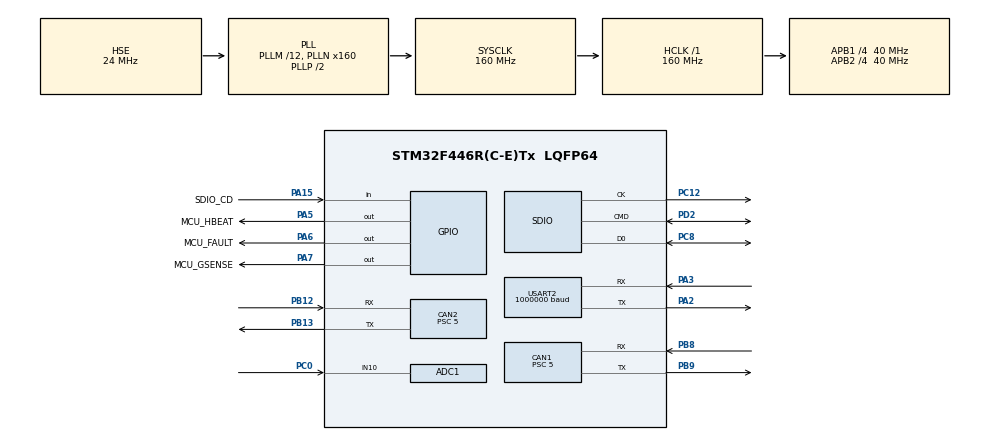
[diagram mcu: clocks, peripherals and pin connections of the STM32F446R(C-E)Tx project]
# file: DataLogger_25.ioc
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ADC1.Channel-2\#ChannelRegularConversion=ADC_CHANNEL_10
ADC1.ClockPrescaler=ADC_CLOCK_SYNC_PCLK_DIV4
ADC1.ContinuousConvMode=ENABLE
ADC1.DMAContinuousRequests=ENABLE
ADC1.NbrOfConversionFlag=1
ADC1.Rank-2\#ChannelRegularConversion=1
ADC1.SamplingTime-2\#ChannelRegularConversion=ADC_SAMPLETIME_3CYCLES
ADC1.master=1
CAN1.BS1=CAN_BS1_6TQ
CAN1.CalculateBaudRate=1000000
CAN1.CalculateTimeBit=1000
CAN1.CalculateTimeQuantum=125.0
CAN1.Mode=CAN_MODE_NORMAL
CAN1.Prescaler=5
CAN2.ABOM=ENABLE
CAN2.AWUM=ENABLE
CAN2.BS1=CAN_BS1_6TQ
CAN2.BS2=CAN_BS2_1TQ
CAN2.CalculateBaudRate=1000000
CAN2.CalculateTimeBit=1000
CAN2.CalculateTimeQuantum=125.0
CAN2.Prescaler=5
Dma.ADC1.2.Direction=DMA_PERIPH_TO_MEMORY
Dma.ADC1.2.FIFOMode=DMA_FIFOMODE_DISABLE
Dma.ADC1.2.Instance=DMA2_Stream0
Dma.ADC1.2.MemDataAlignment=DMA_MDATAALIGN_HALFWORD
Dma.ADC1.2.MemInc=DMA_MINC_ENABLE
Dma.ADC1.2.Mode=DMA_NORMAL
Dma.ADC1.2.PeriphDataAlignment=DMA_PDATAALIGN_HALFWORD
Dma.ADC1.2.PeriphInc=DMA_PINC_DISABLE
Dma.ADC1.2.Priority=DMA_PRIORITY_LOW
Dma.Request0=SDIO_RX
Dma.Request1=SDIO_TX
Dma.Request2=ADC1
Dma.SDIO_RX.0.Direction=DMA_PERIPH_TO_MEMORY
Dma.SDIO_RX.0.FIFOMode=DMA_FIFOMODE_ENABLE
Dma.SDIO_RX.0.FIFOThreshold=DMA_FIFO_THRESHOLD_FULL
Dma.SDIO_RX.0.Instance=DMA2_Stream3
Dma.SDIO_RX.0.MemBurst=DMA_MBURST_INC4
Dma.SDIO_RX.0.MemDataAlignment=DMA_MDATAALIGN_WORD
Dma.SDIO_RX.0.MemInc=DMA_MINC_ENABLE
Dma.SDIO_RX.0.Mode=DMA_PFCTRL
Dma.SDIO_RX.0.PeriphBurst=DMA_PBURST_INC4
Dma.SDIO_RX.0.PeriphDataAlignment=DMA_PDATAALIGN_WORD
Dma.SDIO_RX.0.PeriphInc=DMA_PINC_DISABLE
Dma.SDIO_RX.0.Priority=DMA_PRIORITY_HIGH
Dma.SDIO_TX.1.Direction=DMA_MEMORY_TO_PERIPH
Dma.SDIO_TX.1.FIFOMode=DMA_FIFOMODE_ENABLE
Dma.SDIO_TX.1.FIFOThreshold=DMA_FIFO_THRESHOLD_FULL
Dma.SDIO_TX.1.Instance=DMA2_Stream6
Dma.SDIO_TX.1.MemBurst=DMA_MBURST_INC4
Dma.SDIO_TX.1.MemDataAlignment=DMA_MDATAALIGN_WORD
Dma.SDIO_TX.1.MemInc=DMA_MINC_ENABLE
Dma.SDIO_TX.1.Mode=DMA_PFCTRL
Dma.SDIO_TX.1.PeriphBurst=DMA_PBURST_INC4
Dma.SDIO_TX.1.PeriphDataAlignment=DMA_PDATAALIGN_WORD
Dma.SDIO_TX.1.PeriphInc=DMA_PINC_DISABLE
Dma.SDIO_TX.1.Priority=DMA_PRIORITY_HIGH
FATFS.BSP.number=1
FATFS._MAX_SS=4096
FATFS._USE_LFN=2
FATFS0.BSP.STBoard=false
FATFS0.BSP.api=Unknown
FATFS0.BSP.instance=PA15
FATFS0.BSP.ip=GPIO
FATFS0.BSP.mode=Input
FATFS0.BSP.name=Detect_SDIO
FATFS0.BSP.solution=PA15
FREERTOS.INCLUDE_vTaskDelayUntil=1
FREERTOS.Tasks01=statusTask,-3,128,startStatusTask,Default,NULL,Static,statusTaskBuffer,statusTaskControlBlock;printTask,-2,1024,startPrintTask,Default,NULL,Static,printTaskBuffer,printTaskControlBlock;loggingTask,0,2048,startLoggingTask,Default,NULL,Static,loggingTaskBuffer,loggingTaskControlBlock;serviceGcanTask,2,1024,startServiceGcanTask,Default,NULL,Static,serviceGcanTaskBuffer,serviceGcanTaskControlBlock
Mcu.Family=STM32F4
Mcu.Name=STM32F446R(C-E)Tx
Mcu.Package=LQFP64
NVIC.CAN1_RX0_IRQn=true\:5\:0\:false\:false\:true\:true\:true\:true\:true
NVIC.CAN1_RX1_IRQn=true\:5\:0\:false\:false\:true\:true\:true\:true\:true
NVIC.CAN1_TX_IRQn=true\:5\:0\:false\:false\:true\:true\:true\:true\:true
NVIC.CAN2_RX0_IRQn=true\:5\:0\:false\:false\:true\:true\:true\:true\:true
NVIC.CAN2_RX1_IRQn=true\:5\:0\:false\:false\:true\:true\:true\:true\:true
NVIC.CAN2_TX_IRQn=true\:5\:0\:false\:false\:true\:true\:true\:true\:true
NVIC.DMA2_Stream0_IRQn=true\:5\:0\:false\:false\:true\:true\:false\:true\:true
NVIC.DMA2_Stream3_IRQn=true\:5\:0\:false\:false\:true\:true\:false\:true\:true
NVIC.DMA2_Stream6_IRQn=true\:5\:0\:false\:false\:true\:true\:false\:true\:true
NVIC.PriorityGroup=NVIC_PRIORITYGROUP_4
NVIC.RTC_Alarm_IRQn=true\:5\:0\:false\:false\:true\:true\:true\:true\:true
NVIC.SDIO_IRQn=true\:5\:0\:false\:false\:true\:true\:true\:true\:true
NVIC.TIM6_DAC_IRQn=true\:15\:0\:false\:false\:true\:false\:false\:true\:true
NVIC.TimeBase=TIM6_DAC_IRQn
NVIC.TimeBaseIP=TIM6
PA15.GPIO_Label=SDIO_CD
PA15.GPIO_PuPd=GPIO_PULLUP
PA15.Signal=GPIO_Input
PA2.Mode=Asynchronous
PA2.Signal=USART2_TX
PA3.Mode=Asynchronous
PA3.Signal=USART2_RX
PA5.GPIO_Label=MCU_HBEAT
PA5.Signal=GPIO_Output
PA6.GPIO_Label=MCU_FAULT
PA6.Signal=GPIO_Output
PA7.GPIO_Label=MCU_GSENSE
PA7.Signal=GPIO_Output
PB12.Mode=CAN_Activate
PB12.Signal=CAN2_RX
PB13.Mode=CAN_Activate
PB13.Signal=CAN2_TX
PB8.Mode=CAN_Activate
PB8.Signal=CAN1_RX
PB9.Mode=CAN_Activate
PB9.Signal=CAN1_TX
PC0.Signal=ADCx_IN10
PC10.GPIO_PuPd=GPIO_PULLUP
PC10.Signal=SDIO_D2
PC12.Mode=SD_1_bit
PC12.Signal=SDIO_CK
PC14-OSC32_IN.Mode=LSE-External-Clock-Source
PC14-OSC32_IN.Signal=RCC_OSC32_IN
PC15-OSC32_OUT.Mode=LSE-External-Clock-Source
PC15-OSC32_OUT.Signal=RCC_OSC32_OUT
PC8.GPIO_PuPd=GPIO_PULLUP
PC8.Mode=SD_1_bit
PC8.Signal=SDIO_D0
PC9.GPIO_PuPd=GPIO_PULLUP
PC9.Signal=SDIO_D1
PD2.GPIO_PuPd=GPIO_PULLUP
PD2.Mode=SD_1_bit
PD2.Signal=SDIO_CMD
PH0-OSC_IN.Mode=HSE-External-Oscillator
PH0-OSC_IN.Signal=RCC_OSC_IN
PH1-OSC_OUT.Mode=HSE-External-Oscillator
PH1-OSC_OUT.Signal=RCC_OSC_OUT
ProjectManager.HeapSize=0x200
ProjectManager.StackSize=0x400
ProjectManager.TargetToolchain=CMake
RCC.AHBFreq_Value=160000000
RCC.APB1CLKDivider=RCC_HCLK_DIV4
RCC.APB1Freq_Value=40000000
RCC.APB1TimFreq_Value=80000000
RCC.APB2CLKDivider=RCC_HCLK_DIV4
RCC.APB2Freq_Value=40000000
RCC.APB2TimFreq_Value=80000000
RCC.CortexFreq_Value=160000000
RCC.HCLKFreq_Value=160000000
RCC.HSE_VALUE=24000000
RCC.PLLM=12
RCC.PLLN=160
RCC.PLLQ=7
RCC.PLLSourceVirtual=RCC_PLLSOURCE_HSE
RCC.RCC_RTC_Clock_SourceVirtual=RCC_RTCCLKSOURCE_LSE
RCC.SYSCLKFreq_VALUE=160000000
RCC.SYSCLKSource=RCC_SYSCLKSOURCE_PLLCLK
RCC.USBFreq_Value=45714285.71428572
RCC.VCOOutputFreq_Value=320000000
RTC.Alarm=RTC_ALARM_A
RTC.Date=13
RTC.Month=RTC_MONTH_SEPTEMBER
RTC.Seconds_A=1
RTC.WeekDay=RTC_WEEKDAY_SUNDAY
RTC.Year=26
SDIO.HardwareFlowControl=SDIO_HARDWARE_FLOW_CONTROL_DISABLE
SH.ADCx_IN10.0=ADC1_IN10,IN10
USART2.BaudRate=1000000
USART2.VirtualMode=VM_ASYNC
VP_FATFS_VS_SDIO.Mode=SDIO
VP_FREERTOS_VS_CMSIS_V1.Mode=CMSIS_V1
VP_RTC_VS_RTC_Activate.Mode=RTC_Enabled
VP_RTC_VS_RTC_Alarm_A_Intern.Mode=Alarm A
VP_RTC_VS_RTC_Calendar.Mode=RTC_Calendar
VP_SYS_VS_tim6.Mode=TIM6
board=custom

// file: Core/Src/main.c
/* USER CODE BEGIN Header */
/**
  ******************************************************************************
  * @file           : main.c
  * @brief          : Main program body
  ******************************************************************************
  * @attention
  *
  * Copyright (c) 2025 STMicroelectronics.
  * All rights reserved.
  *
  * This software is licensed under terms that can be found in the LICENSE file
  * in the root directory of this software component.
  * If no LICENSE file comes with this software, it is provided AS-IS.
  *
  ******************************************************************************
  */
/* USER CODE END Header */
#include "main.h"
#include "cmsis_os.h"
#include "fatfs.h"

/* USER CODE BEGIN Includes */

#include "statusTask.h"
#include "printTask.h"
#include "loggingTask.h"
#include "GopherCAN.h"

/* USER CODE END Includes */

/* USER CODE BEGIN PD */

#define STATUS_TASK_PERIOD_MS   10
#define PRINT_TASK_PERIOD_MS    1000
#define LOGGING_TASK_PERIOD_MS  1

/* USER CODE END PD */

ADC_HandleTypeDef hadc1;
DMA_HandleTypeDef hdma_adc1;

CAN_HandleTypeDef hcan1;
CAN_HandleTypeDef hcan2;

RTC_HandleTypeDef hrtc;

SD_HandleTypeDef hsd;
DMA_HandleTypeDef hdma_sdio_rx;
DMA_HandleTypeDef hdma_sdio_tx;

UART_HandleTypeDef huart2;

osThreadId statusTaskHandle;
uint32_t statusTaskBuffer[ 128 ];
osStaticThreadDef_t statusTaskControlBlock;
osThreadId printTaskHandle;
uint32_t printTaskBuffer[ 1024 ];
osStaticThreadDef_t printTaskControlBlock;
osThreadId loggingTaskHandle;
uint32_t loggingTaskBuffer[ 2048 ];
osStaticThreadDef_t loggingTaskControlBlock;
osThreadId serviceGcanTaskHandle;
uint32_t serviceGcanTaskBuffer[ 1024 ];
osStaticThreadDef_t serviceGcanTaskControlBlock;

void SystemClock_Config(void);
static void MX_GPIO_Init(void);
static void MX_DMA_Init(void);
static void MX_RTC_Init(void);
static void MX_USART2_UART_Init(void);
static void MX_SDIO_SD_Init(void);
static void MX_CAN2_Init(void);
static void MX_CAN1_Init(void);
static void MX_ADC1_Init(void);
void startStatusTask(void const * argument);
void startPrintTask(void const * argument);
void startLoggingTask(void const * argument);
void startServiceGcanTask(void const * argument);

/* USER CODE BEGIN PFP */
#ifdef __GNUC__
#define PUTCHAR_PROTOTYPE int __io_putchar(int ch)
#define GETCHAR_PROTOTYPE int __io_getchar(void)
#else
#define PUTCHAR_PROTOTYPE int fputc(int ch, FILE *f)
#define GETCHAR_PROTOTYPE int fgetc(FILE *f)
#endif

PUTCHAR_PROTOTYPE
{
  HAL_UART_Transmit(&huart2, (uint8_t *)&ch, 1, HAL_MAX_DELAY);
  return ch;
}

GETCHAR_PROTOTYPE
{
  uint8_t ch = 0;

  /* Clear the Overrun flag just before receiving the first character */
  __HAL_UART_CLEAR_OREFLAG(&huart2);

  /* Wait for reception of a character on the USART RX line and echo this
   * character on console */
  HAL_UART_Receive(&huart2, (uint8_t *)&ch, 1, HAL_MAX_DELAY);
  HAL_UART_Transmit(&huart2, (uint8_t *)&ch, 1, HAL_MAX_DELAY);
  return ch;
}

/* USER CODE END PFP */

/* USER CODE BEGIN 0 */
// uint8_t BSP_SD_IsDetected(void){
//     __IO uint8_t status = SD_PRESENT;
//     // if (HAL_GPIO_ReadPin(SDIO_CD_GPIO_Port, SDIO_CD_GPIO_Pin) != GPIO_PIN_RESET){
//     //   status = SD_NOT_PRESENT;
//     // }
//     return status;
// }
/* USER CODE END 0 */

int main(void)
{

  /* MCU Configuration--------------------------------------------------------*/

  /* Reset of all peripherals, Initializes the Flash interface and the Systick. */
  HAL_Init();

  /* Configure the system clock */
  SystemClock_Config();

  /* Initialize all configured peripherals */
  MX_GPIO_Init();
  MX_DMA_Init();
  MX_RTC_Init();
  MX_USART2_UART_Init();
  MX_SDIO_SD_Init();
  MX_FATFS_Init();
  MX_CAN2_Init();
  MX_CAN1_Init();
  MX_ADC1_Init();
  /* USER CODE BEGIN 2 */

  init_can(&hcan1, GCAN0);
  init_can(&hcan2, GCAN1);
  gsense_init(&hcan2, MCU_GSENSE_GPIO_Port, MCU_GSENSE_Pin);

  /* USER CODE END 2 */

  /* Create the thread(s) */
  /* definition and creation of statusTask */
  osThreadStaticDef(statusTask, startStatusTask, osPriorityIdle, 0, 128, statusTaskBuffer, &statusTaskControlBlock);
  statusTaskHandle = osThreadCreate(osThread(statusTask), NULL);

  /* definition and creation of printTask */
  osThreadStaticDef(printTask, startPrintTask, osPriorityLow, 0, 1024, printTaskBuffer, &printTaskControlBlock);
  printTaskHandle = osThreadCreate(osThread(printTask), NULL);

  /* definition and creation of loggingTask */
  osThreadStaticDef(loggingTask, startLoggingTask, osPriorityNormal, 0, 2048, loggingTaskBuffer, &loggingTaskControlBlock);
  loggingTaskHandle = osThreadCreate(osThread(loggingTask), NULL);

  /* definition and creation of serviceGcanTask */
  osThreadStaticDef(serviceGcanTask, startServiceGcanTask, osPriorityHigh, 0, 1024, serviceGcanTaskBuffer, &serviceGcanTaskControlBlock);
  serviceGcanTaskHandle = osThreadCreate(osThread(serviceGcanTask), NULL);

  /* Start scheduler */
  osKernelStart();

  /* We should never get here as control is now taken by the scheduler */

  /* Infinite loop */
  while (1)
  {

  }
}

void SystemClock_Config(void)
{
  RCC_OscInitTypeDef RCC_OscInitStruct = {0};
  RCC_ClkInitTypeDef RCC_ClkInitStruct = {0};

  /** Configure the main internal regulator output voltage
  */
  __HAL_RCC_PWR_CLK_ENABLE();
  __HAL_PWR_VOLTAGESCALING_CONFIG(PWR_REGULATOR_VOLTAGE_SCALE1);

  /** Initializes the RCC Oscillators according to the specified parameters
  * in the RCC_OscInitTypeDef structure.
  */
  RCC_OscInitStruct.OscillatorType = RCC_OSCILLATORTYPE_HSE|RCC_OSCILLATORTYPE_LSE;
  RCC_OscInitStruct.HSEState = RCC_HSE_ON;
  RCC_OscInitStruct.LSEState = RCC_LSE_BYPASS;
  RCC_OscInitStruct.PLL.PLLState = RCC_PLL_ON;
  RCC_OscInitStruct.PLL.PLLSource = RCC_PLLSOURCE_HSE;
  RCC_OscInitStruct.PLL.PLLM = 12;
  RCC_OscInitStruct.PLL.PLLN = 160;
  RCC_OscInitStruct.PLL.PLLP = RCC_PLLP_DIV2;
  RCC_OscInitStruct.PLL.PLLQ = 7;
  RCC_OscInitStruct.PLL.PLLR = 2;
  if (HAL_RCC_OscConfig(&RCC_OscInitStruct) != HAL_OK)
  {
    Error_Handler();
  }

  /** Initializes the CPU, AHB and APB buses clocks
  */
  RCC_ClkInitStruct.ClockType = RCC_CLOCKTYPE_HCLK|RCC_CLOCKTYPE_SYSCLK
                              |RCC_CLOCKTYPE_PCLK1|RCC_CLOCKTYPE_PCLK2;
  RCC_ClkInitStruct.SYSCLKSource = RCC_SYSCLKSOURCE_PLLCLK;
  RCC_ClkInitStruct.AHBCLKDivider = RCC_SYSCLK_DIV1;
  RCC_ClkInitStruct.APB1CLKDivider = RCC_HCLK_DIV4;
  RCC_ClkInitStruct.APB2CLKDivider = RCC_HCLK_DIV4;

  if (HAL_RCC_ClockConfig(&RCC_ClkInitStruct, FLASH_LATENCY_5) != HAL_OK)
  {
    Error_Handler();
  }
}

static void MX_ADC1_Init(void)
{

  ADC_ChannelConfTypeDef sConfig = {0};

  /** Configure the global features of the ADC (Clock, Resolution, Data Alignment and number of conversion)
  */
  hadc1.Instance = ADC1;
  hadc1.Init.ClockPrescaler = ADC_CLOCK_SYNC_PCLK_DIV4;
  hadc1.Init.Resolution = ADC_RESOLUTION_12B;
  hadc1.Init.ScanConvMode = DISABLE;
  hadc1.Init.ContinuousConvMode = ENABLE;
  hadc1.Init.DiscontinuousConvMode = DISABLE;
  hadc1.Init.ExternalTrigConvEdge = ADC_EXTERNALTRIGCONVEDGE_NONE;
  hadc1.Init.ExternalTrigConv = ADC_SOFTWARE_START;
  hadc1.Init.DataAlign = ADC_DATAALIGN_RIGHT;
  hadc1.Init.NbrOfConversion = 1;
  hadc1.Init.DMAContinuousRequests = ENABLE;
  hadc1.Init.EOCSelection = ADC_EOC_SINGLE_CONV;
  if (HAL_ADC_Init(&hadc1) != HAL_OK)
  {
    Error_Handler();
  }

  /** Configure for the selected ADC regular channel its corresponding rank in the sequencer and its sample time.
  */
  sConfig.Channel = ADC_CHANNEL_10;
  sConfig.Rank = 1;
  sConfig.SamplingTime = ADC_SAMPLETIME_3CYCLES;
  if (HAL_ADC_ConfigChannel(&hadc1, &sConfig) != HAL_OK)
  {
    Error_Handler();
  }

}

static void MX_CAN1_Init(void)
{

  hcan1.Instance = CAN1;
  hcan1.Init.Prescaler = 5;
  hcan1.Init.Mode = CAN_MODE_NORMAL;
  hcan1.Init.SyncJumpWidth = CAN_SJW_1TQ;
  hcan1.Init.TimeSeg1 = CAN_BS1_6TQ;
  hcan1.Init.TimeSeg2 = CAN_BS2_1TQ;
  hcan1.Init.TimeTriggeredMode = DISABLE;
  hcan1.Init.AutoBusOff = DISABLE;
  hcan1.Init.AutoWakeUp = DISABLE;
  hcan1.Init.AutoRetransmission = DISABLE;
  hcan1.Init.ReceiveFifoLocked = DISABLE;
  hcan1.Init.TransmitFifoPriority = DISABLE;
  if (HAL_CAN_Init(&hcan1) != HAL_OK)
  {
    Error_Handler();
  }

}

static void MX_CAN2_Init(void)
{

  hcan2.Instance = CAN2;
  hcan2.Init.Prescaler = 5;
  hcan2.Init.Mode = CAN_MODE_NORMAL;
  hcan2.Init.SyncJumpWidth = CAN_SJW_1TQ;
  hcan2.Init.TimeSeg1 = CAN_BS1_6TQ;
  hcan2.Init.TimeSeg2 = CAN_BS2_1TQ;
  hcan2.Init.TimeTriggeredMode = DISABLE;
  hcan2.Init.AutoBusOff = ENABLE;
  hcan2.Init.AutoWakeUp = ENABLE;
  hcan2.Init.AutoRetransmission = DISABLE;
  hcan2.Init.ReceiveFifoLocked = DISABLE;
  hcan2.Init.TransmitFifoPriority = DISABLE;
  if (HAL_CAN_Init(&hcan2) != HAL_OK)
  {
    Error_Handler();
  }

}

static void MX_RTC_Init(void)
{

  RTC_TimeTypeDef sTime = {0};
  RTC_DateTypeDef sDate = {0};
  RTC_AlarmTypeDef sAlarm = {0};

  /** Initialize RTC Only
  */
  hrtc.Instance = RTC;
  hrtc.Init.HourFormat = RTC_HOURFORMAT_24;
  hrtc.Init.AsynchPrediv = 127;
  hrtc.Init.SynchPrediv = 255;
  hrtc.Init.OutPut = RTC_OUTPUT_DISABLE;
  hrtc.Init.OutPutPolarity = RTC_OUTPUT_POLARITY_HIGH;
  hrtc.Init.OutPutType = RTC_OUTPUT_TYPE_OPENDRAIN;
  if (HAL_RTC_Init(&hrtc) != HAL_OK)
  {
    Error_Handler();
  }

  /** Initialize RTC and set the Time and Date
  */
  sTime.Hours = 0x0;
  sTime.Minutes = 0x0;
  sTime.Seconds = 0x0;
  sTime.DayLightSaving = RTC_DAYLIGHTSAVING_NONE;
  sTime.StoreOperation = RTC_STOREOPERATION_RESET;
  if (HAL_RTC_SetTime(&hrtc, &sTime, RTC_FORMAT_BCD) != HAL_OK)
  {
    Error_Handler();
  }
  sDate.WeekDay = RTC_WEEKDAY_SUNDAY;
  sDate.Month = RTC_MONTH_SEPTEMBER;
  sDate.Date = 0x13;
  sDate.Year = 0x26;

  if (HAL_RTC_SetDate(&hrtc, &sDate, RTC_FORMAT_BCD) != HAL_OK)
  {
    Error_Handler();
  }

  /** Enable the Alarm A
  */
  sAlarm.AlarmTime.Hours = 0x0;
  sAlarm.AlarmTime.Minutes = 0x0;
  sAlarm.AlarmTime.Seconds = 0x1;
  sAlarm.AlarmTime.SubSeconds = 0x0;
  sAlarm.AlarmTime.DayLightSaving = RTC_DAYLIGHTSAVING_NONE;
  sAlarm.AlarmTime.StoreOperation = RTC_STOREOPERATION_RESET;
  sAlarm.AlarmMask = RTC_ALARMMASK_NONE;
  sAlarm.AlarmSubSecondMask = RTC_ALARMSUBSECONDMASK_ALL;
  sAlarm.AlarmDateWeekDaySel = RTC_ALARMDATEWEEKDAYSEL_DATE;
  sAlarm.AlarmDateWeekDay = 0x1;
  sAlarm.Alarm = RTC_ALARM_A;
  if (HAL_RTC_SetAlarm_IT(&hrtc, &sAlarm, RTC_FORMAT_BCD) != HAL_OK)
  {
    Error_Handler();
  }

}

static void MX_SDIO_SD_Init(void)
{

  hsd.Instance = SDIO;
  hsd.Init.ClockEdge = SDIO_CLOCK_EDGE_RISING;
  hsd.Init.ClockBypass = SDIO_CLOCK_BYPASS_DISABLE;
  hsd.Init.ClockPowerSave = SDIO_CLOCK_POWER_SAVE_DISABLE;
  hsd.Init.BusWide = SDIO_BUS_WIDE_1B;
  hsd.Init.HardwareFlowControl = SDIO_HARDWARE_FLOW_CONTROL_DISABLE;
  hsd.Init.ClockDiv = 0;
  /* USER CODE BEGIN SDIO_Init 2 */
// if (HAL_SD_Init(&hsd)!=HAL_OK){
//   Error_Handler();
// }
// if (HAL_SD_ConfigWideBusOperation(&hsd, SDIO_BUS_WIDE_4B) != HAL_OK){
//   Error_Handler();
// }
  /* USER CODE END SDIO_Init 2 */

}

static void MX_USART2_UART_Init(void)
{

  huart2.Instance = USART2;
  huart2.Init.BaudRate = 1000000;
  huart2.Init.WordLength = UART_WORDLENGTH_8B;
  huart2.Init.StopBits = UART_STOPBITS_1;
  huart2.Init.Parity = UART_PARITY_NONE;
  huart2.Init.Mode = UART_MODE_TX_RX;
  huart2.Init.HwFlowCtl = UART_HWCONTROL_NONE;
  huart2.Init.OverSampling = UART_OVERSAMPLING_16;
  if (HAL_UART_Init(&huart2) != HAL_OK)
  {
    Error_Handler();
  }

}

static void MX_DMA_Init(void)
{

  /* DMA controller clock enable */
  __HAL_RCC_DMA2_CLK_ENABLE();

  /* DMA interrupt init */
  /* DMA2_Stream0_IRQn interrupt configuration */
  HAL_NVIC_SetPriority(DMA2_Stream0_IRQn, 5, 0);
  HAL_NVIC_EnableIRQ(DMA2_Stream0_IRQn);
  /* DMA2_Stream3_IRQn interrupt configuration */
  HAL_NVIC_SetPriority(DMA2_Stream3_IRQn, 5, 0);
  HAL_NVIC_EnableIRQ(DMA2_Stream3_IRQn);
  /* DMA2_Stream6_IRQn interrupt configuration */
  HAL_NVIC_SetPriority(DMA2_Stream6_IRQn, 5, 0);
  HAL_NVIC_EnableIRQ(DMA2_Stream6_IRQn);

}

static void MX_GPIO_Init(void)
{
  GPIO_InitTypeDef GPIO_InitStruct = {0};

  /* GPIO Ports Clock Enable */
  __HAL_RCC_GPIOC_CLK_ENABLE();
  __HAL_RCC_GPIOH_CLK_ENABLE();
  __HAL_RCC_GPIOA_CLK_ENABLE();
  __HAL_RCC_GPIOB_CLK_ENABLE();
  __HAL_RCC_GPIOD_CLK_ENABLE();

  /*Configure GPIO pin Output Level */
  HAL_GPIO_WritePin(GPIOA, MCU_HBEAT_Pin|MCU_FAULT_Pin|MCU_GSENSE_Pin, GPIO_PIN_RESET);

  /*Configure GPIO pins : MCU_HBEAT_Pin MCU_FAULT_Pin MCU_GSENSE_Pin */
  GPIO_InitStruct.Pin = MCU_HBEAT_Pin|MCU_FAULT_Pin|MCU_GSENSE_Pin;
  GPIO_InitStruct.Mode = GPIO_MODE_OUTPUT_PP;
  GPIO_InitStruct.Pull = GPIO_NOPULL;
  GPIO_InitStruct.Speed = GPIO_SPEED_FREQ_LOW;
  HAL_GPIO_Init(GPIOA, &GPIO_InitStruct);

  /*Configure GPIO pin : SDIO_CD_Pin */
  GPIO_InitStruct.Pin = SDIO_CD_Pin;
  GPIO_InitStruct.Mode = GPIO_MODE_INPUT;
  GPIO_InitStruct.Pull = GPIO_PULLUP;
  HAL_GPIO_Init(SDIO_CD_GPIO_Port, &GPIO_InitStruct);

}

void startStatusTask(void const * argument)
{
  /* USER CODE BEGIN 5 */
  initStatusTask();
  TickType_t lastStatusTaskTick;
  const TickType_t statusTaskPeriod = pdMS_TO_TICKS(STATUS_TASK_PERIOD_MS);

  /* Infinite loop */
  for(;;)
  {
    runStatusTask();
    vTaskDelayUntil(&lastStatusTaskTick, statusTaskPeriod);
  }
  /* USER CODE END 5 */
}

void startPrintTask(void const * argument)
{
  /* USER CODE BEGIN startPrintTask */
  initPrintTask();
  TickType_t lastPrintTaskTick;
  const TickType_t printTaskPeriod = pdMS_TO_TICKS(PRINT_TASK_PERIOD_MS);

  /* Infinite loop */
  for(;;)
  {
    runPrintTask();
    vTaskDelayUntil(&lastPrintTaskTick, printTaskPeriod);
  }
  /* USER CODE END startPrintTask */
}

void startLoggingTask(void const * argument)
{
  /* USER CODE BEGIN startLoggingTask */
  initLoggingTask();
  TickType_t lastLoggingTaskTick;
  const TickType_t loggingTaskPeriod = pdMS_TO_TICKS(LOGGING_TASK_PERIOD_MS);

  /* Infinite loop */
  for(;;)
  {
    runLoggingTask();
    vTaskDelayUntil(&lastLoggingTaskTick, loggingTaskPeriod);
  }
  /* USER CODE END startLoggingTask */
}

void startServiceGcanTask(void const * argument)
{
  /* USER CODE BEGIN startServiceGcanTask */
  /* Infinite loop */
  for(;;)
  {
    // Service CAN
    service_can_tx(&hcan1);
    service_can_tx(&hcan2);
    service_can_rx_buffer();
    osDelay(1);
  }
  /* USER CODE END startServiceGcanTask */
}

void HAL_TIM_PeriodElapsedCallback(TIM_HandleTypeDef *htim)
{
  if (htim->Instance == TIM6) {
    HAL_IncTick();
  }
}

void Error_Handler(void)
{
  __disable_irq();
  while (1)
  {
  }
}
